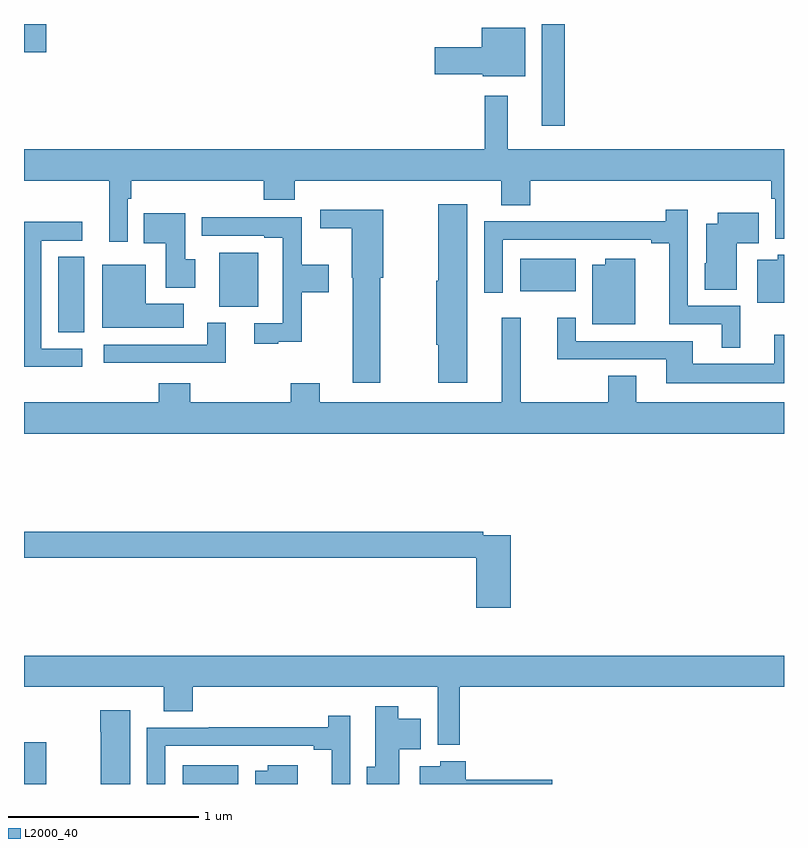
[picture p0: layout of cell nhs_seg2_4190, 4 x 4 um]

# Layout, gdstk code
import gdstk
lib = gdstk.Library(unit=1e-6, precision=1e-09)
def R(c, l, rs):  # rectangles x0, y0, x1, y1
    for r in rs: c.add(gdstk.rectangle(r[:2], r[2:], *l))
def P(c, l, *ps):  # polygons
    for p in ps: c.add(gdstk.Polygon(p, *l))
L2000_40 = (2000, 40)

nhs_seg2_4190 = lib.new_cell('nhs_seg2_4190')
R(nhs_seg2_4190, L2000_40, [(337,637.8,337.116,638.019), (337.835,637.8,338.128,637.9), (337.181,640.177,337.318,640.574), (338.027,640.313,338.233,640.597), (339.611,640.394,339.904,640.564), (339.725,641.265,339.847,641.8), (337,641.651,337.117,641.798)])
P(nhs_seg2_4190, L2000_40, [(339.637,641.779),(339.41,641.779),(339.41,641.678),(339.162,641.678),(339.162,641.536),(339.414,641.536),(339.414,641.525),(339.637,641.525)],
  [(337.545,640.88),(337.565,640.88),(337.565,640.976),(338.261,640.976),(338.261,640.874),(338.426,640.874),(338.426,640.976),(339.512,640.976),(339.512,640.846),(339.665,640.846),(339.665,640.976),(340.933,640.976),(340.933,640.88),(340.953,640.88),(340.953,640.67),(341,640.67),(341,641.14),(339.547,641.14),(339.547,641.422),(339.426,641.422),(339.426,641.14),(337,641.14),(337,640.976),(337.448,640.976),(337.448,640.653),(337.545,640.653)],
  [(339.334,640.852),(339.181,640.852),(339.181,640.449),(339.17,640.449),(339.17,640.113),(339.181,640.113),(339.181,639.912),(339.334,639.912)],
  [(338.874,640.464),(338.892,640.464),(338.892,640.822),(338.559,640.822),(338.559,640.724),(338.726,640.724),(338.726,640.464),(338.729,640.464),(338.729,639.912),(338.874,639.912)],
  [(340.771,640.317),(340.494,640.317),(340.494,640.822),(340.378,640.822),(340.378,640.763),(339.748,640.763),(339.748,640.761),(339.423,640.761),(339.423,640.386),(339.519,640.386),(339.519,640.665),(340.301,640.665),(340.301,640.645),(340.397,640.645),(340.397,640.221),(340.673,640.221),(340.673,640.097),(340.771,640.097)],
  [(340.75,640.646),(340.868,640.646),(340.868,640.807),(340.652,640.807),(340.652,640.75),(340.592,640.75),(340.592,640.542),(340.583,640.542),(340.583,640.402),(340.75,640.402)],
  [(337.9,640.563),(337.849,640.563),(337.849,640.804),(337.63,640.804),(337.63,640.646),(337.745,640.646),(337.745,640.412),(337.9,640.412)],
  [(338.339,640.127),(338.462,640.127),(338.462,640.387),(338.605,640.387),(338.605,640.534),(338.462,640.534),(338.462,640.782),(338.177,640.782),(338.177,640.784),(337.935,640.784),(337.935,640.686),(338.264,640.686),(338.264,640.674),(338.361,640.674),(338.361,640.224),(338.211,640.224),(338.211,640.116),(338.339,640.116)],
  [(337.306,640.092),(337.092,640.092),(337.092,640.659),(337.306,640.659),(337.306,640.758),(337,640.758),(337,639.996),(337.306,639.996)],
  [(341,640.585),(340.968,640.585),(340.968,640.558),(340.859,640.558),(340.859,640.334),(341,640.334)],
  [(340.216,640.564),(340.058,640.564),(340.058,640.534),(339.992,640.534),(339.992,640.22),(340.216,640.22)],
  [(337.84,640.327),(337.642,640.327),(337.642,640.534),(337.412,640.534),(337.412,640.202),(337.84,640.202)],
  [(341,640.165),(340.949,640.165),(340.949,640.012),(340.519,640.012),(340.519,640.131),(339.903,640.131),(339.903,640.255),(339.806,640.255),(339.806,640.035),(340.379,640.035),(340.379,639.908),(341,639.908)],
  [(341,639.808),(340.222,639.808),(340.222,639.95),(340.075,639.95),(340.075,639.808),(339.614,639.808),(339.614,640.255),(339.515,640.255),(339.515,639.808),(338.557,639.808),(338.557,639.91),(338.405,639.91),(338.405,639.808),(337.874,639.808),(337.874,639.91),(337.709,639.91),(337.709,639.808),(337,639.808),(337,639.644),(341,639.644)],
  [(338.062,640.228),(337.965,640.228),(337.965,640.113),(337.419,640.113),(337.419,640.017),(338.062,640.017)],
  [(339.563,639.108),(339.416,639.108),(339.416,639.128),(337,639.128),(337,638.992),(339.38,638.992),(339.38,638.727),(339.563,638.727)],
  [(339.293,638.312),(341,638.312),(341,638.476),(337,638.476),(337,638.312),(337.736,638.312),(337.736,638.182),(337.889,638.182),(337.889,638.312),(339.177,638.312),(339.177,638.006),(339.293,638.006)],
  [(338.974,637.982),(339.088,637.982),(339.088,638.143),(338.971,638.143),(338.971,638.209),(338.849,638.209),(338.849,637.89),(338.803,637.89),(338.803,637.8),(338.974,637.8)],
  [(337.558,638.188),(337.4,638.188),(337.4,638.075),(337.405,638.075),(337.405,637.8),(337.558,637.8)],
  [(337.743,638.001),(338.525,638.001),(338.525,637.981),(338.621,637.981),(338.621,637.8),(338.718,637.8),(338.718,638.158),(338.602,638.158),(338.602,638.099),(337.972,638.099),(337.972,638.097),(337.647,638.097),(337.647,637.8),(337.743,637.8)],
  [(339.781,637.823),(339.326,637.823),(339.326,637.921),(339.192,637.921),(339.192,637.894),(339.083,637.894),(339.083,637.8),(339.781,637.8)],
  [(338.44,637.9),(338.282,637.9),(338.282,637.87),(338.216,637.87),(338.216,637.8),(338.44,637.8)])

lib.write_gds('nhs_seg2_4190.gds')
